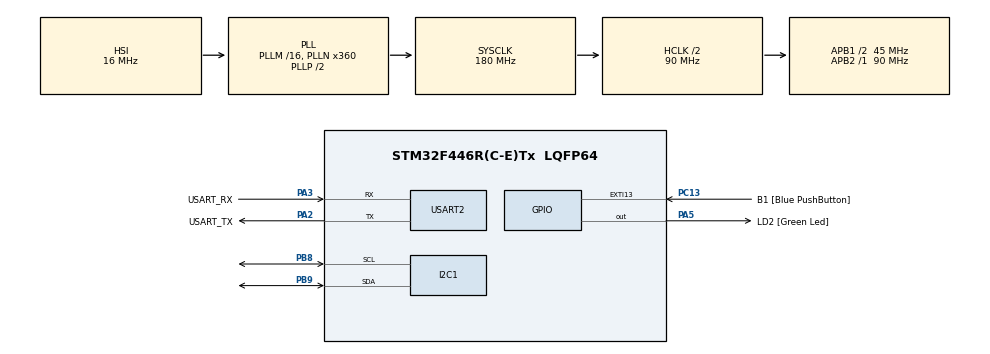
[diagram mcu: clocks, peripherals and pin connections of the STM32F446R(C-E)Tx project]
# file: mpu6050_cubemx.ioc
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Mcu.Family=STM32F4
Mcu.Name=STM32F446R(C-E)Tx
Mcu.Package=LQFP64
NVIC.PriorityGroup=NVIC_PRIORITYGROUP_0
NVIC.USART2_IRQn=true\:0\:0\:false\:false\:true\:true
PA13.GPIO_Label=TMS
PA13.Mode=Trace_Asynchronous_SW
PA13.Signal=SYS_JTMS-SWDIO
PA14.GPIO_Label=TCK
PA14.Mode=Trace_Asynchronous_SW
PA14.Signal=SYS_JTCK-SWCLK
PA2.GPIO_Label=USART_TX
PA2.Mode=Asynchronous
PA2.Signal=USART2_TX
PA3.GPIO_Label=USART_RX
PA3.Mode=Asynchronous
PA3.Signal=USART2_RX
PA5.GPIO_Label=LD2 [Green Led]
PA5.Signal=GPIO_Output
PB3.GPIO_Label=SWO
PB3.Mode=Trace_Asynchronous_SW
PB3.Signal=SYS_JTDO-SWO
PB8.Mode=I2C
PB8.Signal=I2C1_SCL
PB9.Mode=I2C
PB9.Signal=I2C1_SDA
PC13.GPIO_Label=B1 [Blue PushButton]
PC13.GPIO_ModeDefaultEXTI=GPIO_MODE_EVT_RISING
PC13.Signal=GPXTI13
PC14-OSC32_IN.Mode=LSE-External-Oscillator
PC14-OSC32_IN.Signal=RCC_OSC32_IN
PC15-OSC32_OUT.Signal=RCC_OSC32_OUT
PH0-OSC_IN.GPIO_Label=PH0-OSC_IN
PH0-OSC_IN.Signal=RCC_OSC_IN
PH1-OSC_OUT.GPIO_Label=PH1-OSC_OUT
PH1-OSC_OUT.Signal=RCC_OSC_OUT
ProjectManager.HeapSize=0x400
ProjectManager.StackSize=0x200
ProjectManager.TargetToolchain=SW4STM32
RCC.48MHZClocksFreq_Value=84000000
RCC.AHBCLKDivider=RCC_SYSCLK_DIV2
RCC.AHBFreq_Value=90000000
RCC.APB1CLKDivider=RCC_HCLK_DIV2
RCC.APB1Freq_Value=45000000
RCC.APB1TimFreq_Value=90000000
RCC.APB2Freq_Value=90000000
RCC.APB2TimFreq_Value=90000000
RCC.CortexFreq_Value=90000000
RCC.FLatency-AdvancedSettings=FLASH_LATENCY_2
RCC.HCLKFreq_Value=90000000
RCC.HSE_VALUE=8000000
RCC.HSI_VALUE=16000000
RCC.PLLN=360
RCC.SYSCLKFreq_VALUE=180000000
RCC.SYSCLKSource=RCC_SYSCLKSOURCE_PLLCLK
RCC.USBFreq_Value=180000000
RCC.VCOOutputFreq_Value=360000000
USART2.VirtualMode=VM_ASYNC
board=NUCLEO-F446RE

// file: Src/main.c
/**
  ******************************************************************************
  * @file           : main.c
  * @brief          : Main program body
  ******************************************************************************
  ** This notice applies to any and all portions of this file
  * that are not between comment pairs USER CODE BEGIN and
  * USER CODE END. Other portions of this file, whether
  * inserted by the user or by software development tools
  * are owned by their respective copyright owners.
  *
  * COPYRIGHT(c) 2018 STMicroelectronics
  *
  * Redistribution and use in source and binary forms, with or without modification,
  * are permitted provided that the following conditions are met:
  *   1. Redistributions of source code must retain the above copyright notice,
  *      this list of conditions and the following disclaimer.
  *   2. Redistributions in binary form must reproduce the above copyright notice,
  *      this list of conditions and the following disclaimer in the documentation
  *      and/or other materials provided with the distribution.
  *   3. Neither the name of STMicroelectronics nor the names of its contributors
  *      may be used to endorse or promote products derived from this software
  *      without specific prior written permission.
  *
  * THIS SOFTWARE IS PROVIDED BY THE COPYRIGHT HOLDERS AND CONTRIBUTORS "AS IS"
  * AND ANY EXPRESS OR IMPLIED WARRANTIES, INCLUDING, BUT NOT LIMITED TO, THE
  * IMPLIED WARRANTIES OF MERCHANTABILITY AND FITNESS FOR A PARTICULAR PURPOSE ARE
  * DISCLAIMED. IN NO EVENT SHALL THE COPYRIGHT HOLDER OR CONTRIBUTORS BE LIABLE
  * FOR ANY DIRECT, INDIRECT, INCIDENTAL, SPECIAL, EXEMPLARY, OR CONSEQUENTIAL
  * DAMAGES (INCLUDING, BUT NOT LIMITED TO, PROCUREMENT OF SUBSTITUTE GOODS OR
  * SERVICES; LOSS OF USE, DATA, OR PROFITS; OR BUSINESS INTERRUPTION) HOWEVER
  * CAUSED AND ON ANY THEORY OF LIABILITY, WHETHER IN CONTRACT, STRICT LIABILITY,
  * OR TORT (INCLUDING NEGLIGENCE OR OTHERWISE) ARISING IN ANY WAY OUT OF THE USE
  * OF THIS SOFTWARE, EVEN IF ADVISED OF THE POSSIBILITY OF SUCH DAMAGE.
  *
  ******************************************************************************
  */
#include "main.h"
#include "stm32f4xx_hal.h"

I2C_HandleTypeDef hi2c1;

UART_HandleTypeDef huart2;

/* USER CODE BEGIN PV */
/* Private variables ---------------------------------------------------------*/
#define MPU6050_I2C_ADDR            0xD0 /* 0x68 */
#define MPU6050_SMPLRT_DIV          0x19
#define MPU6050_CONFIG              0x1A
#define MPU6050_GYRO_CONFIG         0x1B
#define MPU6050_ACCEL_CONFIG        0x1C
#define MPU6050_ACCEL_XOUT_H        0x3B
#define MPU6050_ACCEL_XOUT_L        0x3C
#define MPU6050_ACCEL_YOUT_H        0x3D
#define MPU6050_ACCEL_YOUT_L        0x3E
#define MPU6050_ACCEL_ZOUT_H        0x3F
#define MPU6050_ACCEL_ZOUT_L        0x40
#define MPU6050_TEMP_OUT_H          0x41
#define MPU6050_TEMP_OUT_L          0x42
#define MPU6050_GYRO_XOUT_H         0x43
#define MPU6050_GYRO_XOUT_L         0x44
#define MPU6050_GYRO_YOUT_H         0x45
#define MPU6050_GYRO_YOUT_L         0x46
#define MPU6050_GYRO_ZOUT_H         0x47
#define MPU6050_GYRO_ZOUT_L         0x48
#define MPU6050_I_AM                0x68
#define MPU6050_PWR_MGMT_1          0x6B
#define MPU6050_WHO_AM_I            0x75

#define MPU6050_RATE_1KHZ           7
#define MPU6050_ACC_8G              0x02
#define MPU6050_GYRO_250S           0x00
/* USER CODE END PV */

void SystemClock_Config(void);
static void MX_GPIO_Init(void);
static void MX_USART2_UART_Init(void);
static void MX_I2C1_Init(void);

/* USER CODE BEGIN PFP */
/* Private function prototypes -----------------------------------------------*/
#ifdef __GNUC__
  /* With GCC/RAISONANCE, small printf (option LD Linker->Libraries->Small printf
     set to 'Yes') calls __io_putchar() */
  #define PUTCHAR_PROTOTYPE int __io_putchar(int ch)
  #define GETCHAR_PROTOTYPE int __io_getchar(void)
#else
  #define PUTCHAR_PROTOTYPE int fputc(int ch, FILE *f)
  #define GETCHAR_PROTOTYPE int fgetc(FILE *f)
#endif /* __GNUC__ */

/* USER CODE END PFP */

int main(void)
{

  /* MCU Configuration----------------------------------------------------------*/

  /* Reset of all peripherals, Initializes the Flash interface and the Systick. */
  HAL_Init();

  /* Configure the system clock */
  SystemClock_Config();

  /* Initialize all configured peripherals */
  MX_GPIO_Init();
  MX_USART2_UART_Init();
  MX_I2C1_Init();
  /* USER CODE BEGIN 2 */
  printf("Hello stm32\r\n");
  /* MPU6050 초기화 */
  //i2c_set_frequency(MPU6050_I2C, 400000);
  uint8_t address = MPU6050_I2C_ADDR;
  /* 장치 연결 점검 */
  if (HAL_I2C_IsDeviceReady(&hi2c1, (uint8_t)address, 2, 5) != HAL_OK) {
    /* 오류 처리 */
    _Error_Handler(__FILE__, __LINE__);
  }
  /* MPU6050 장치 확인 */
  /* 레지스터 주소 전송 */
  uint8_t reg = MPU6050_WHO_AM_I;
  if (HAL_I2C_Master_Transmit(&hi2c1, address, &reg, 1, 1000) != HAL_OK) {
      /* 오류 처리 */
    _Error_Handler(__FILE__, __LINE__);
  }
  uint8_t temp;
  if (HAL_I2C_Master_Receive(&hi2c1, address, &temp, 1, 1000) != HAL_OK) {
    /* 오류 처리 */
    _Error_Handler(__FILE__, __LINE__);
  }
  if (temp != MPU6050_I_AM) {
    _Error_Handler(__FILE__, __LINE__);
  }
  /* MPU6050 기동 */
  uint8_t bytes[2] = {MPU6050_PWR_MGMT_1, 0x00};
  if (HAL_I2C_Master_Transmit(&hi2c1, address, (uint8_t *)bytes, 2, 1000) != HAL_OK) {
    /* 오류 처리 */
    _Error_Handler(__FILE__, __LINE__);
  }
  /* 샘플레이트를 1kHz로 설정 */
  /* 데이터 처리율 설정 */
  bytes[0] = MPU6050_SMPLRT_DIV;
  bytes[1] = MPU6050_RATE_1KHZ;
  if (HAL_I2C_Master_Transmit(&hi2c1, address, (uint8_t *)bytes, 2, 1000) != HAL_OK) {
    /* 오류 처리 */
    _Error_Handler(__FILE__, __LINE__);
  }
  /* 가속도계 설정 */
  reg = MPU6050_ACCEL_CONFIG;
  if (HAL_I2C_Master_Transmit(&hi2c1, address, &reg, 1, 1000) != HAL_OK) {
    /* 오류 처리 */
    _Error_Handler(__FILE__, __LINE__);
  }
  if (HAL_I2C_Master_Receive(&hi2c1, address, &temp, 1, 1000) != HAL_OK) {
    /* 오류 처리 */
    _Error_Handler(__FILE__, __LINE__);
  }
  temp = (temp & 0xE7) | (uint8_t)MPU6050_ACC_8G << 3;
  bytes[0] = reg;
  bytes[1] = temp;
  if (HAL_I2C_Master_Transmit(&hi2c1, address, (uint8_t *)bytes, 2, 1000) != HAL_OK) {
    /* 오류 처리 */
    _Error_Handler(__FILE__, __LINE__);
  }

  /* 자이로스코프 설정 */
  reg = MPU6050_GYRO_CONFIG;
  if (HAL_I2C_Master_Transmit(&hi2c1, address, &reg, 1, 1000) != HAL_OK) {
    /* 오류 처리 */
    _Error_Handler(__FILE__, __LINE__);
  }
  if (HAL_I2C_Master_Receive(&hi2c1, address, &temp, 1, 1000) != HAL_OK) {
    /* 오류 처리 */
    _Error_Handler(__FILE__, __LINE__);
  }
  temp = (temp & 0xE7) | (uint8_t)MPU6050_GYRO_250S << 3;
  bytes[0] = reg;
  bytes[1] = temp;
  if (HAL_I2C_Master_Transmit(&hi2c1, address, (uint8_t *)bytes, 2, 1000) != HAL_OK) {
    /* 오류 처리 */
    _Error_Handler(__FILE__, __LINE__);
  }
  /* Green LED on */
  HAL_GPIO_WritePin(LD2_GPIO_Port, LD2_Pin, GPIO_PIN_SET);

  /* USER CODE END 2 */

  /* Infinite loop */
  while (1)
  {

  /* USER CODE BEGIN 3 */
    /* 전체 원시 데이터(14바이트) 읽기 */
    uint8_t data[14];
    reg = MPU6050_ACCEL_XOUT_H;
    if (HAL_I2C_Master_Transmit(&hi2c1, address, &reg, 1, 1000) != HAL_OK) {
      /* 오류 처리 */
      _Error_Handler(__FILE__, __LINE__);
    }
    if (HAL_I2C_Master_Receive(&hi2c1, address, data, 14, 1000) != HAL_OK) {
      /* 오류 처리 */
      _Error_Handler(__FILE__, __LINE__);
    }
    /* 가속도 값 구성 */
    int16_t acc_x = (int16_t)(data[0] << 8 | data[1]);
    int16_t acc_y = (int16_t)(data[2] << 8 | data[3]);
    int16_t acc_z = (int16_t)(data[4] << 8 | data[5]);
    /* 온도 값 구성 */
    temp = (data[6] << 8 | data[7]);
    int16_t temperature = (float)((float)((int16_t)temp) / (float)340.0 + (float)36.53);
    /* 자이로스코프 값 구성 */
    int16_t gyro_x = (int16_t)(data[8] << 8 | data[9]);
    int16_t gyro_y = (int16_t)(data[10] << 8 | data[11]);
    int16_t gyro_z = (int16_t)(data[12] << 8 | data[13]);

    printf("acc:x=%d,y=%d,z=%d\r\n", acc_x, acc_y, acc_z);

    HAL_Delay(1000);
  }
  /* USER CODE END 3 */

}

void SystemClock_Config(void)
{

  RCC_OscInitTypeDef RCC_OscInitStruct;
  RCC_ClkInitTypeDef RCC_ClkInitStruct;

    /**Configure the main internal regulator output voltage
    */
  __HAL_RCC_PWR_CLK_ENABLE();

  __HAL_PWR_VOLTAGESCALING_CONFIG(PWR_REGULATOR_VOLTAGE_SCALE3);

    /**Initializes the CPU, AHB and APB busses clocks
    */
  RCC_OscInitStruct.OscillatorType = RCC_OSCILLATORTYPE_HSI;
  RCC_OscInitStruct.HSIState = RCC_HSI_ON;
  RCC_OscInitStruct.HSICalibrationValue = 16;
  RCC_OscInitStruct.PLL.PLLState = RCC_PLL_ON;
  RCC_OscInitStruct.PLL.PLLSource = RCC_PLLSOURCE_HSI;
  RCC_OscInitStruct.PLL.PLLM = 16;
  RCC_OscInitStruct.PLL.PLLN = 360;
  RCC_OscInitStruct.PLL.PLLP = RCC_PLLP_DIV2;
  RCC_OscInitStruct.PLL.PLLQ = 2;
  RCC_OscInitStruct.PLL.PLLR = 2;
  if (HAL_RCC_OscConfig(&RCC_OscInitStruct) != HAL_OK)
  {
    _Error_Handler(__FILE__, __LINE__);
  }

    /**Initializes the CPU, AHB and APB busses clocks
    */
  RCC_ClkInitStruct.ClockType = RCC_CLOCKTYPE_HCLK|RCC_CLOCKTYPE_SYSCLK
                              |RCC_CLOCKTYPE_PCLK1|RCC_CLOCKTYPE_PCLK2;
  RCC_ClkInitStruct.SYSCLKSource = RCC_SYSCLKSOURCE_PLLCLK;
  RCC_ClkInitStruct.AHBCLKDivider = RCC_SYSCLK_DIV2;
  RCC_ClkInitStruct.APB1CLKDivider = RCC_HCLK_DIV2;
  RCC_ClkInitStruct.APB2CLKDivider = RCC_HCLK_DIV1;

  if (HAL_RCC_ClockConfig(&RCC_ClkInitStruct, FLASH_LATENCY_2) != HAL_OK)
  {
    _Error_Handler(__FILE__, __LINE__);
  }

    /**Configure the Systick interrupt time
    */
  HAL_SYSTICK_Config(HAL_RCC_GetHCLKFreq()/1000);

    /**Configure the Systick
    */
  HAL_SYSTICK_CLKSourceConfig(SYSTICK_CLKSOURCE_HCLK);

  /* SysTick_IRQn interrupt configuration */
  HAL_NVIC_SetPriority(SysTick_IRQn, 0, 0);
}

/* I2C1 init function */
static void MX_I2C1_Init(void)
{

  hi2c1.Instance = I2C1;
  hi2c1.Init.ClockSpeed = 100000;
  hi2c1.Init.DutyCycle = I2C_DUTYCYCLE_2;
  hi2c1.Init.OwnAddress1 = 0;
  hi2c1.Init.AddressingMode = I2C_ADDRESSINGMODE_7BIT;
  hi2c1.Init.DualAddressMode = I2C_DUALADDRESS_DISABLE;
  hi2c1.Init.OwnAddress2 = 0;
  hi2c1.Init.GeneralCallMode = I2C_GENERALCALL_DISABLE;
  hi2c1.Init.NoStretchMode = I2C_NOSTRETCH_DISABLE;
  if (HAL_I2C_Init(&hi2c1) != HAL_OK)
  {
    _Error_Handler(__FILE__, __LINE__);
  }

}

/* USART2 init function */
static void MX_USART2_UART_Init(void)
{

  huart2.Instance = USART2;
  huart2.Init.BaudRate = 115200;
  huart2.Init.WordLength = UART_WORDLENGTH_8B;
  huart2.Init.StopBits = UART_STOPBITS_1;
  huart2.Init.Parity = UART_PARITY_NONE;
  huart2.Init.Mode = UART_MODE_TX_RX;
  huart2.Init.HwFlowCtl = UART_HWCONTROL_NONE;
  huart2.Init.OverSampling = UART_OVERSAMPLING_16;
  if (HAL_UART_Init(&huart2) != HAL_OK)
  {
    _Error_Handler(__FILE__, __LINE__);
  }

}

/** Configure pins as
        * Analog
        * Input
        * Output
        * EVENT_OUT
        * EXTI
*/
static void MX_GPIO_Init(void)
{

  GPIO_InitTypeDef GPIO_InitStruct;

  /* GPIO Ports Clock Enable */
  __HAL_RCC_GPIOC_CLK_ENABLE();
  __HAL_RCC_GPIOH_CLK_ENABLE();
  __HAL_RCC_GPIOA_CLK_ENABLE();
  __HAL_RCC_GPIOB_CLK_ENABLE();

  /*Configure GPIO pin Output Level */
  HAL_GPIO_WritePin(LD2_GPIO_Port, LD2_Pin, GPIO_PIN_RESET);

  /*Configure GPIO pin : B1_Pin */
  GPIO_InitStruct.Pin = B1_Pin;
  GPIO_InitStruct.Mode = GPIO_MODE_EVT_RISING;
  GPIO_InitStruct.Pull = GPIO_NOPULL;
  HAL_GPIO_Init(B1_GPIO_Port, &GPIO_InitStruct);

  /*Configure GPIO pin : LD2_Pin */
  GPIO_InitStruct.Pin = LD2_Pin;
  GPIO_InitStruct.Mode = GPIO_MODE_OUTPUT_PP;
  GPIO_InitStruct.Pull = GPIO_NOPULL;
  GPIO_InitStruct.Speed = GPIO_SPEED_FREQ_LOW;
  HAL_GPIO_Init(LD2_GPIO_Port, &GPIO_InitStruct);

}

/* USER CODE BEGIN 4 */
PUTCHAR_PROTOTYPE
{
  /* Place your implementation of fputc here */
  HAL_UART_Transmit(&huart2, (uint8_t *)&ch, 1, 0xFFFF);
  while (HAL_UART_GetState(&huart2) != HAL_UART_STATE_READY);

  return ch;
}
/* USER CODE END 4 */

void _Error_Handler(char *file, int line)
{
  while(1)
  {
  }
}

/************************ (C) COPYRIGHT STMicroelectronics *****END OF FILE****/
